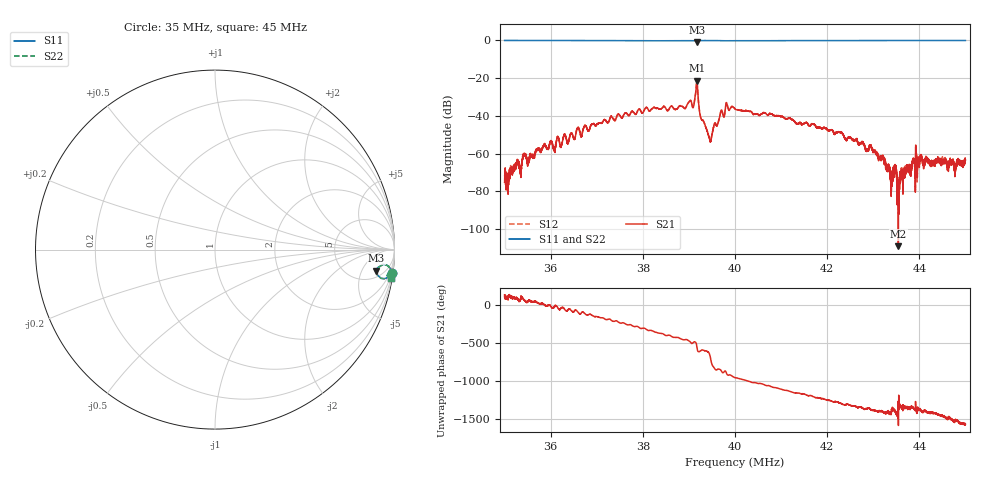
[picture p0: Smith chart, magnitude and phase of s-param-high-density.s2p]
!  23/08/2022  4:52:02 PM
! Ref Plane: 0.000 mm
# MHZ S MA R  50
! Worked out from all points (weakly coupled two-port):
!   8001 points, 35 MHz to 45 MHz, reference 50 ohm
!   highest |S21| = -21.41 dB at 39.17 MHz (marker M1); lowest = -109.1 dB at 43.55 MHz (marker M2)
!   lowest |S11| = -0.8 dB at 39.17 MHz (marker M3), VSWR 20.54, Z = 370 - j491 ohm
!   |S11| at or under -10 dB: nowhere
!   |S22| runs from -0.8 to 0.0 dB; largest |S21 - S12| = 0.00047
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35  0.9954 -7.5  0.0001735 135.6  0.0002677 124.3  0.9958 -7.6
35.2525  0.9948 -7.7  0.0004985 99.1  0.0004614 98.2  0.9954 -7.7
35.3438  0.9945 -7.6  0.0002772 64.4  0.0003475 89.3  0.9956 -7.7
35.4313  0.9946 -7.7  0.0009087 65.8  0.0009408 64.7  0.9958 -7.8
36.6675  0.9901 -8.1  0.002827 -99.4  0.002858 -100.2  0.9909 -8.2
37.47  0.9843 -8.3  0.01112 136.0  0.01105 136.1  0.9852 -8.3
38.3338  0.9763 -8.1  0.01568 -7.2  0.01569 -6.9  0.9785 -8.2
38.9113  0.982 -8.3  0.01557 -95.9  0.01556 -95.8  0.9815 -8.2
39.0913  0.9759 -8.2  0.01656 -133.4  0.01663 -133.2  0.9784 -8.3
39.1725  0.9071 -7.5  0.08501 172.6  0.08512 172.8  0.9083 -7.5
39.265  0.9878 -7.4  0.008362 123.6  0.008402 123.8  0.9878 -7.4
39.4525  0.9885 -8.1  0.002281 66.3  0.002304 63.2  0.9899 -8.1
39.695  0.9798 -8.4  0.0135 -139.4  0.01361 -139.5  0.9815 -8.6
40  0.9801 -8.0  0.01517 125.2  0.01526 125.4  0.9801 -8.0
41.6675  0.9843 -8.1  0.006155 -116.3  0.006134 -116.0  0.9864 -8.2
42.9538  0.9904 -8.3  0.001604 56.5  0.001571 62.1  0.9918 -8.4
43.3338  0.9921 -8.5  0.0004448 28.6  0.000523 33.2  0.9924 -8.6
43.4013  0.9918 -8.5  0.0001346 59.0  0.0001817 59.4  0.9915 -8.6
43.465  0.9921 -8.5  0.000383 61.7  0.0004236 57.6  0.9929 -8.6
43.545  0.991 -8.6  3.515e-06 -74.9  9.839e-05 -12.3  0.9926 -8.6
43.8938  0.9923 -8.7  0.0005837 70.8  0.000589 60.2  0.9927 -8.7
45  0.9929 -9.1  0.0006763 -126.9  0.0007185 -131.2  0.9938 -9.1
